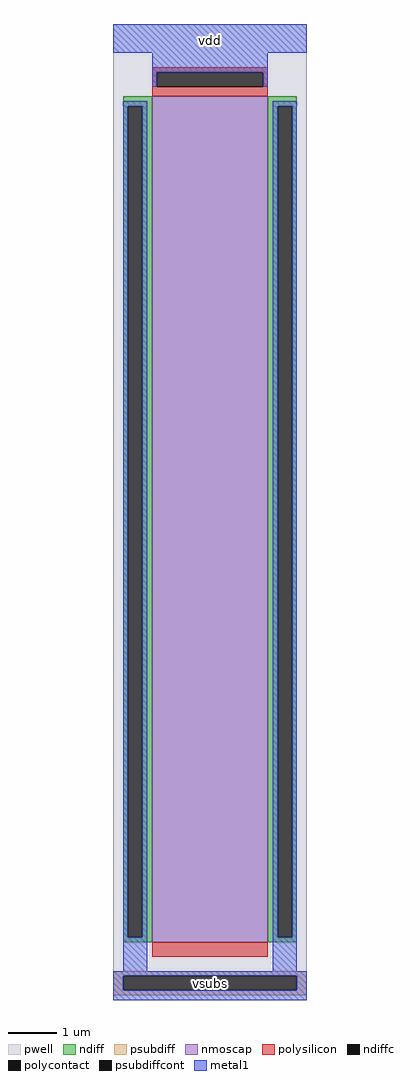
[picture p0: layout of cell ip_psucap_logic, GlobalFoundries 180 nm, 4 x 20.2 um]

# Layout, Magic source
magic
tech gf180mcuD
<< pwell >>
rect -20 380 60 382
rect -20 -22 60 -20
<< metal1 >>
rect -20 380 60 382
rect -20 -22 60 -20
use nmoscap_3p3_CUSTM4  nmoscap_3p3_CUSTM4_0
transform 1 0 120 0 1 60
box -140 -80 -60 320
<< labels >>
flabel space -20 -20 60 -10 0 FreeSans 80 0 0 0 vsubs
port 0 nsew
flabel space -20 370 60 380 0 FreeSans 80 0 0 0 vdd
port 1 nsew
<< end >>

# cell nmoscap_3p3_CUSTM4: kit device nmoscap_3p3, w 17.5 l 2.4 m 1 nf 1 diffcov 100 polycov 100 guard 0 glc 0 grc 0 gtc 0 gbc 0 tbcov 100 rlcov 100 topc 1 botc 0 poverlap 0 doverlap 1 lmin 0.28 wmin 0.22 class mosfet full_metal 0 compatible {nmoscap_3p3 nmoscap_6p0}
